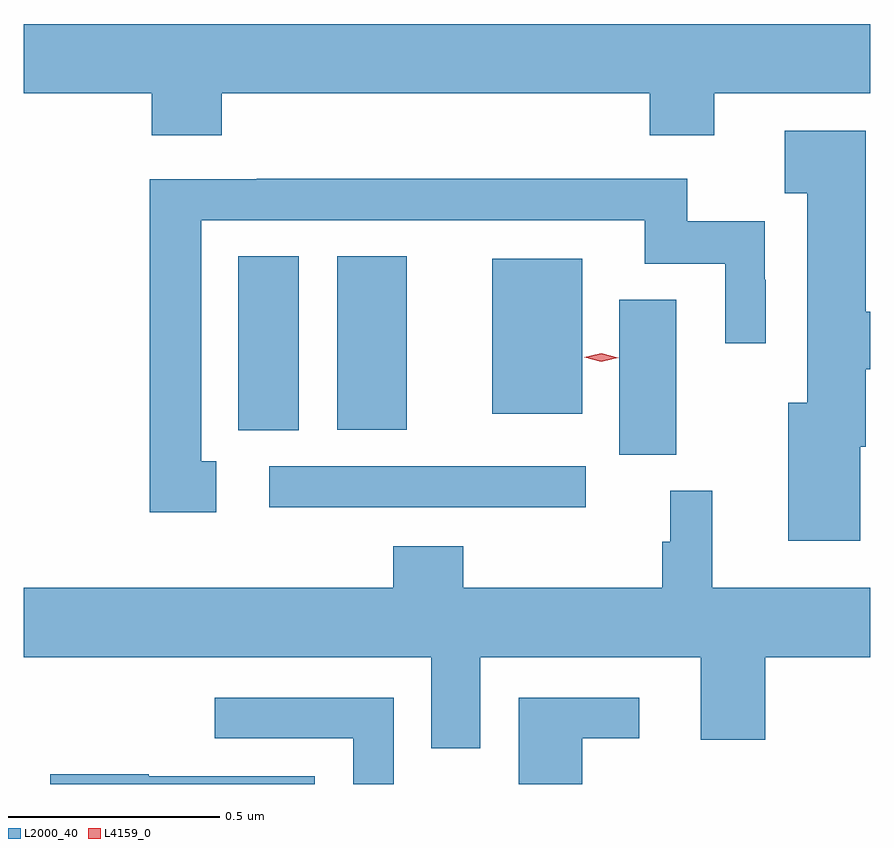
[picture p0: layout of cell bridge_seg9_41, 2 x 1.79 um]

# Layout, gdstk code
import gdstk
lib = gdstk.Library(unit=1e-6, precision=1e-09)
def R(c, l, rs):  # rectangles x0, y0, x1, y1
    for r in rs: c.add(gdstk.rectangle(r[:2], r[2:], *l))
def P(c, l, *ps):  # polygons
    for p in ps: c.add(gdstk.Polygon(p, *l))
L2000_40 = (2000, 40)
L4159_0 = (4159, 0)

bridge_seg9_41 = lib.new_cell('bridge_seg9_41')
R(bridge_seg9_41, L2000_40, [(923.106,1178.127,923.854,1178.223), (923.933,1178.251,924.067,1178.617), (923.033,1178.308,923.176,1178.72), (923.267,1178.31,923.431,1178.72), (923.633,1178.348,923.845,1178.713)])
P(bridge_seg9_41, L2000_40, [(922.526,1179.104),(922.829,1179.104),(922.829,1179.005),(922.994,1179.005),(922.994,1179.104),(924.005,1179.104),(924.005,1179.005),(924.157,1179.005),(924.157,1179.104),(924.526,1179.104),(924.526,1179.268),(922.526,1179.268)],
  [(924.502,1178.27),(924.515,1178.27),(924.515,1178.452),(924.526,1178.452),(924.526,1178.588),(924.515,1178.588),(924.515,1179.016),(924.324,1179.016),(924.324,1178.868),(924.377,1178.868),(924.377,1178.374),(924.332,1178.374),(924.332,1178.048),(924.502,1178.048)],
  [(922.981,1178.235),(922.945,1178.235),(922.945,1178.805),(923.993,1178.805),(923.993,1178.702),(924.183,1178.702),(924.183,1178.514),(924.279,1178.514),(924.279,1178.664),(924.276,1178.664),(924.276,1178.802),(924.093,1178.802),(924.093,1178.903),(923.077,1178.903),(923.077,1178.901),(922.824,1178.901),(922.824,1178.115),(922.981,1178.115)],
  [(923.605,1177.772),(924.125,1177.772),(924.125,1177.578),(924.278,1177.578),(924.278,1177.772),(924.526,1177.772),(924.526,1177.936),(924.152,1177.936),(924.152,1178.166),(924.053,1178.166),(924.053,1178.045),(924.034,1178.045),(924.034,1177.936),(923.564,1177.936),(923.564,1178.035),(923.399,1178.035),(923.399,1177.936),(922.526,1177.936),(922.526,1177.772),(923.489,1177.772),(923.489,1177.558),(923.605,1177.558)],
  [(923.845,1177.581),(923.98,1177.581),(923.98,1177.677),(923.696,1177.677),(923.696,1177.473),(923.845,1177.473)],
  [(923.214,1177.491),(922.822,1177.491),(922.822,1177.496),(922.589,1177.496),(922.589,1177.473),(923.214,1177.473)],
  [(922.977,1177.677),(922.977,1177.581),(923.304,1177.581),(923.304,1177.473),(923.4,1177.473),(923.4,1177.677)])
P(bridge_seg9_41, L4159_0, [(923.89,1178.47),(923.85,1178.481),(923.85,1178.481),(923.85,1178.481),(923.89,1178.49),(923.931,1178.48),(923.931,1178.48),(923.931,1178.48)])

lib.write_gds('bridge_seg9_41.gds')
